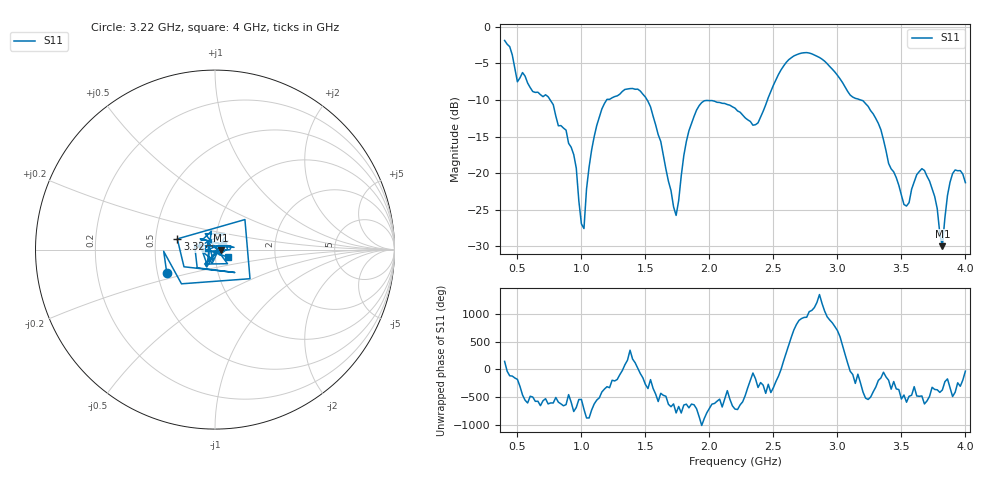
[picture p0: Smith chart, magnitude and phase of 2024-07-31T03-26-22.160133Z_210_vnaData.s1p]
!Created with skrf (http://scikit-rf.org).
# Hz S RI R 50.0
!freq ReS11 ImS11
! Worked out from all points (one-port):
!   181 points, 400 MHz to 4 GHz, reference 50 ohm
!   lowest |S11| = -30.0 dB at 3.82 GHz (marker M1), VSWR 1.07, Z = 53.2 - j0.465 ohm
!   |S11| at or under -10 dB: 755.8 MHz to 1.197 GHz (441.2 MHz wide, 45.2 % of centre); 1.513 GHz to 2.454 GHz (940 MHz wide, 47.4 % of centre); 3.18 GHz to end of sweep
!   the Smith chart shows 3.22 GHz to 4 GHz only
!   S11 on the Smith chart (normalised r, x): 3.22 GHz: 0.56, -0.16; 3.32 GHz: 0.65, +0.08; 4 GHz: 1.16, -0.10
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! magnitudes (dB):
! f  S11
! 400 MHz  -1.9
! 500 MHz  -7.5
! 740 MHz  -9.6
! 860 MHz  -13.8
! 940 MHz  -17.5
! 1.02 GHz  -27.6
! 1.06 GHz  -19.2
! 1.12 GHz  -13.5
! 1.3 GHz  -9.2
! 1.52 GHz  -10.2
! 1.74 GHz  -25.8
! 1.76 GHz  -23.8
! 1.82 GHz  -15.7
! 1.92 GHz  -10.8
! 2.2 GHz  -11.1
! 2.38 GHz  -13.1
! 2.66 GHz  -4.0
! 2.88 GHz  -4.4
! 3.1 GHz  -9.3
! 3.22 GHz  -10.5
! 3.32 GHz  -13.2
! 3.52 GHz  -24.3
! 3.56 GHz  -24.0
! 3.68 GHz  -19.6
! 3.76 GHz  -23.2
! 3.82 GHz  -30.0
! 3.9 GHz  -20.1
! 4 GHz  -21.3
